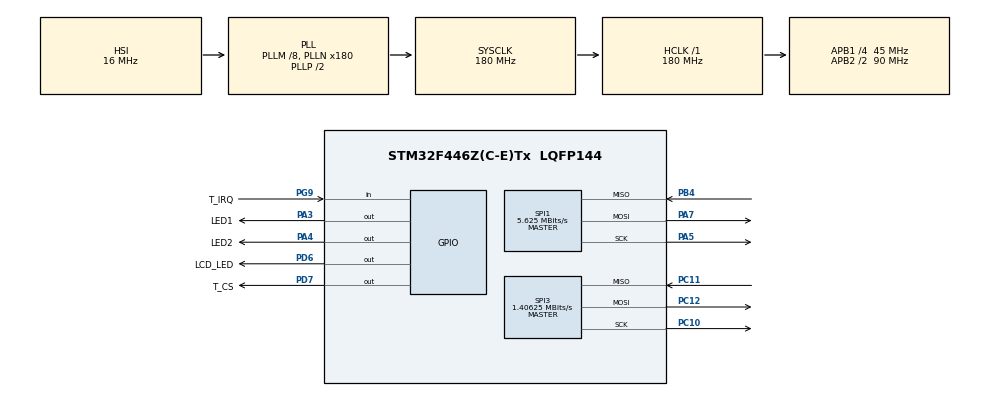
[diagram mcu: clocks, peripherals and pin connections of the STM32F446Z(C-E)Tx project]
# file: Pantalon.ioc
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Mcu.Family=STM32F4
Mcu.Name=STM32F446Z(C-E)Tx
Mcu.Package=LQFP144
NVIC.PriorityGroup=NVIC_PRIORITYGROUP_4
PA3.GPIO_Label=LED1
PA3.PinState=GPIO_PIN_RESET
PA3.Signal=GPIO_Output
PA4.GPIO_Label=LED2
PA4.Signal=GPIO_Output
PA5.Mode=Full_Duplex_Master
PA5.Signal=SPI1_SCK
PA7.Mode=Full_Duplex_Master
PA7.Signal=SPI1_MOSI
PB4.Mode=Full_Duplex_Master
PB4.Signal=SPI1_MISO
PC10.Mode=Full_Duplex_Master
PC10.Signal=SPI3_SCK
PC11.Mode=Full_Duplex_Master
PC11.Signal=SPI3_MISO
PC12.Mode=Full_Duplex_Master
PC12.Signal=SPI3_MOSI
PD6.GPIO_Label=LCD_LED
PD6.PinState=GPIO_PIN_SET
PD6.Signal=GPIO_Output
PD7.GPIO_Label=T_CS
PD7.PinState=GPIO_PIN_SET
PD7.Signal=GPIO_Output
PG9.GPIO_Label=T_IRQ
PG9.Signal=GPIO_Input
ProjectManager.HeapSize=0x200
ProjectManager.StackSize=0x400
ProjectManager.TargetToolchain=CMake
RCC.AHBFreq_Value=180000000
RCC.APB1CLKDivider=RCC_HCLK_DIV4
RCC.APB1Freq_Value=45000000
RCC.APB1TimFreq_Value=90000000
RCC.APB2CLKDivider=RCC_HCLK_DIV2
RCC.APB2Freq_Value=90000000
RCC.APB2TimFreq_Value=180000000
RCC.CortexFreq_Value=180000000
RCC.HCLKFreq_Value=180000000
RCC.PLLM=8
RCC.PLLN=180
RCC.SYSCLKFreq_VALUE=180000000
RCC.SYSCLKSource=RCC_SYSCLKSOURCE_PLLCLK
RCC.USBFreq_Value=180000000
RCC.VCOOutputFreq_Value=360000000
SPI1.BaudRatePrescaler=SPI_BAUDRATEPRESCALER_16
SPI1.CalculateBaudRate=5.625 MBits/s
SPI1.Direction=SPI_DIRECTION_2LINES
SPI1.Mode=SPI_MODE_MASTER
SPI1.VirtualType=VM_MASTER
SPI3.BaudRatePrescaler=SPI_BAUDRATEPRESCALER_32
SPI3.CalculateBaudRate=1.40625 MBits/s
SPI3.Direction=SPI_DIRECTION_2LINES
SPI3.Mode=SPI_MODE_MASTER
SPI3.VirtualType=VM_MASTER
board=custom

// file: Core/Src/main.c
/* USER CODE BEGIN Header */
/**
  ******************************************************************************
  * @file           : main.c
  * @brief          : Main program body
  ******************************************************************************
  * @attention
  *
  * Copyright (c) 2026 STMicroelectronics.
  * All rights reserved.
  *
  * This software is licensed under terms that can be found in the LICENSE file
  * in the root directory of this software component.
  * If no LICENSE file comes with this software, it is provided AS-IS.
  *
  ******************************************************************************
  */
/* USER CODE END Header */
#include "main.h"

/* USER CODE BEGIN Includes */
#include "ILI9341_Driver.h"
#include "Touch.h"
#include "display.h"
#include "stm32f4xx_hal.h"
#include <stdio.h>
/* USER CODE END Includes */

/* USER CODE BEGIN PD */
void delay_ms(volatile uint32_t ms){
	while(ms--){
		for(volatile uint32_t i =0; i<6000;i++){
		}}
}
/* USER CODE END PD */

SPI_HandleTypeDef hspi1;
SPI_HandleTypeDef hspi3;

/* USER CODE BEGIN PV */
uint8_t state = 0;
uint16_t Xp;
uint16_t Yp;
char touch_text[24];
volatile uint32_t startup_stage;
 uint16_t paint_color = WHITE;
 uint16_t brush_size = 15;

/* USER CODE END PV */

void SystemClock_Config(void);
static void MX_GPIO_Init(void);
static void MX_SPI1_Init(void);
static void MX_SPI3_Init(void);

int main(void)
{

  /* USER CODE BEGIN 1 */
 uint16_t rec_espacio = 5;
 uint16_t recArea = 30;

  /* USER CODE END 1 */

  /* MCU Configuration--------------------------------------------------------*/

  /* Reset of all peripherals, Initializes the Flash interface and the Systick. */
  startup_stage = 1;
  HAL_Init();

  /* Configure the system clock */
  startup_stage = 2;
  SystemClock_Config();

  /* Initialize all configured peripherals */
  startup_stage = 3;
  MX_GPIO_Init();
  startup_stage = 4;
  MX_SPI1_Init();
  startup_stage = 5;
  MX_SPI3_Init();
  /* USER CODE BEGIN 2 */
  startup_stage = 6;
  LCD_ILI9341_Init();
  TP_Init();
  startup_stage = 7;
  LCD_ILI9341_Rotate(0);
  HAL_Delay(500);
  startup_stage = 8;
  LCD_ILI9341_Fill(WHITE);
  startup_stage = 9;

  uint16_t BLACK_MARGIN_X_L    = 0;                        uint16_t  BLACK_MARGIN_X_H   = recArea;
  uint16_t RED_MARGIN_X_L      = (recArea+rec_espacio)   ; uint16_t RED_MARGIN_X_H      = (recArea)*2+rec_espacio;
  uint16_t BLUE_MARGIN_X_L     = (recArea+rec_espacio)*2 ; uint16_t BLUE_MARGIN_X_H     = (recArea)*3+rec_espacio*2;
  uint16_t GREEN_MARGIN_X_L    = (recArea+rec_espacio)*3 ; uint16_t GREEN_MARGIN_X_H    = (recArea)*4+rec_espacio*3;
  uint16_t PURPLE_MARGIN_X_L   = (recArea+rec_espacio)*4 ; uint16_t PURPLE_MARGIN_X_H   = (recArea)*5+rec_espacio*4;
  uint16_t MAROON_MARGIN_X_L   = (recArea+rec_espacio)*5 ; uint16_t MAROON_MARGIN_X_H   = (recArea)*6+rec_espacio*5;
  uint16_t ERASE_MARGIN_X_L    = (recArea+rec_espacio)*6 ; uint16_t ERASE_MARGIN_X_H    = (recArea)*7+rec_espacio*6;

  uint16_t ERASE2_MARGIN_X_L   = (recArea+rec_espacio)*7 ; uint16_t ERASE2_MARGIN_X_H   = (recArea)*8+rec_espacio*7;

  //                              0  0   30           30
  LCD_ILI9341_DrawFilledRectangle(BLACK_MARGIN_X_L, 0, BLACK_MARGIN_X_H,(recArea), BLACK);

  //                                 35                 0     65                    30
  LCD_ILI9341_DrawFilledRectangle(RED_MARGIN_X_L  , 0, RED_MARGIN_X_H ,(recArea), RED);
  //                                    70                 0     100                    30
  LCD_ILI9341_DrawFilledRectangle(BLUE_MARGIN_X_L, 0, BLUE_MARGIN_X_H,(recArea), BLUE);

  LCD_ILI9341_DrawFilledRectangle(GREEN_MARGIN_X_L, 0, GREEN_MARGIN_X_H,(recArea), GREEN);

  LCD_ILI9341_DrawFilledRectangle(PURPLE_MARGIN_X_L, 0, PURPLE_MARGIN_X_H,(recArea), PURPLE);

  LCD_ILI9341_DrawFilledRectangle(MAROON_MARGIN_X_L, 0, MAROON_MARGIN_X_H,(recArea), MAROON);
  LCD_ILI9341_DrawFilledRectangle(ERASE_MARGIN_X_L, 0, ERASE_MARGIN_X_H,(recArea)/2, RED);
  LCD_ILI9341_DrawFilledRectangle(ERASE_MARGIN_X_L, recArea/2, ERASE_MARGIN_X_H,(recArea),BLUE);

  LCD_ILI9341_DrawFilledRectangle(ERASE2_MARGIN_X_L, 0, ERASE2_MARGIN_X_H,(recArea)/2, BLUE);
  LCD_ILI9341_DrawFilledRectangle(ERASE2_MARGIN_X_L, recArea/2, ERASE2_MARGIN_X_H,(recArea),RED);

    // LCD_ILI9341_Puts(28, 64, "IE UAA", 2, BLACK, WHITE);

    // LCD_ILI9341_DrawCircle(Xp, Yp, 5, RED, 0);
    // LCD_ILI9341_Puts(180, 160, "PAINT", 2, GREEN, WHITE);

  // LCD_ILI9341_DrawFilledRectangle(0, 0, 120, 18, WHITE);

  /* USER CODE END 2 */

  /* Infinite loop */
  while (1)
  {

    /* USER CODE BEGIN 3 */

     if(TP_GetState())
     {
    HAL_GPIO_TogglePin(LED1_GPIO_Port, LED1_Pin);
    HAL_GPIO_WritePin(LED1_GPIO_Port, LED1_Pin, GPIO_PIN_SET); //encender LED
    Yp=240-TP_Read_X(); //solo TP_Read_X() para invertir X
    Xp=TP_Read_Y(); //solo TP_Read_Y() para invertir Y

    if (Yp < recArea) {
      if (Xp >= BLACK_MARGIN_X_L && Xp <= BLACK_MARGIN_X_H) {
        paint_color = BLACK;
      } else if (Xp >= RED_MARGIN_X_L && Xp <= RED_MARGIN_X_H) {
        paint_color = RED;
      } else if (Xp >= BLUE_MARGIN_X_L && Xp <= BLUE_MARGIN_X_H) {
        paint_color = BLUE;
      } else if (Xp >= GREEN_MARGIN_X_L && Xp <= GREEN_MARGIN_X_H) {
        paint_color = GREEN;
      } else if (Xp >= PURPLE_MARGIN_X_L && Xp <= PURPLE_MARGIN_X_H) {
        paint_color = PURPLE;
      } else if (Xp >= MAROON_MARGIN_X_L && Xp <= MAROON_MARGIN_X_H) {
        paint_color = MAROON;
      }
        else if (Xp >= ERASE_MARGIN_X_L && Xp <= ERASE_MARGIN_X_H) {
          paint_color = WHITE;
        }
        else if (Xp >= ERASE2_MARGIN_X_L && Xp <= ERASE2_MARGIN_X_H) {
          LCD_ILI9341_DrawFilledRectangle(0,recArea,320,320,WHITE);

        }
    }
    else{
          LCD_ILI9341_DrawCircle(Xp, Yp, brush_size, paint_color, brush_size);

    }
    }
     //Para hacer lineas finas se debe obtener el promedio de puntos
     //Para dibujar coordenadas
     /*
    LCD_ILI9341_DrawFilledRectangle(230,10,310,70,ILI9341_COLOR_WHITE); //borrar anteriores
     snprintf(buffer, 15, "%d", Xp);
    // LCD_ILI9341_Puts(230, 10, buffer, &LCD_Font_16x26, ILI9341_COLOR_RED,
    // ILI9341_COLOR_BLUE);
    // snprintf(buffer, 15, "%d", Yp);
    // LCD_ILI9341_Puts(230, 40, buffer, &LCD_Font_16x26, ILI9341_COLOR_GREEN,
    // ILI9341_COLOR_BLUE);
    // HAL_Delay(100);
    // */

  }
    // HAL_GPIO_WritePin(LED1_GPIO_Port, LED1_Pin, GPIO_PIN_RESET); //apagar LED

  /* USER CODE END 3 */
}

void SystemClock_Config(void)
{
  RCC_OscInitTypeDef RCC_OscInitStruct = {0};
  RCC_ClkInitTypeDef RCC_ClkInitStruct = {0};

  /** Configure the main internal regulator output voltage
  */
  __HAL_RCC_PWR_CLK_ENABLE();
  __HAL_PWR_VOLTAGESCALING_CONFIG(PWR_REGULATOR_VOLTAGE_SCALE1);

  /** Initializes the RCC Oscillators according to the specified parameters
  * in the RCC_OscInitTypeDef structure.
  */
  RCC_OscInitStruct.OscillatorType = RCC_OSCILLATORTYPE_HSI;
  RCC_OscInitStruct.HSIState = RCC_HSI_ON;
  RCC_OscInitStruct.HSICalibrationValue = RCC_HSICALIBRATION_DEFAULT;
  RCC_OscInitStruct.PLL.PLLState = RCC_PLL_ON;
  RCC_OscInitStruct.PLL.PLLSource = RCC_PLLSOURCE_HSI;
  RCC_OscInitStruct.PLL.PLLM = 8;
  RCC_OscInitStruct.PLL.PLLN = 180;
  RCC_OscInitStruct.PLL.PLLP = RCC_PLLP_DIV2;
  RCC_OscInitStruct.PLL.PLLQ = 2;
  RCC_OscInitStruct.PLL.PLLR = 2;
  if (HAL_RCC_OscConfig(&RCC_OscInitStruct) != HAL_OK)
  {
    Error_Handler();
  }

  /** Activate the Over-Drive mode
  */
  if (HAL_PWREx_EnableOverDrive() != HAL_OK)
  {
    Error_Handler();
  }

  /** Initializes the CPU, AHB and APB buses clocks
  */
  RCC_ClkInitStruct.ClockType = RCC_CLOCKTYPE_HCLK|RCC_CLOCKTYPE_SYSCLK
                              |RCC_CLOCKTYPE_PCLK1|RCC_CLOCKTYPE_PCLK2;
  RCC_ClkInitStruct.SYSCLKSource = RCC_SYSCLKSOURCE_PLLCLK;
  RCC_ClkInitStruct.AHBCLKDivider = RCC_SYSCLK_DIV1;
  RCC_ClkInitStruct.APB1CLKDivider = RCC_HCLK_DIV4;
  RCC_ClkInitStruct.APB2CLKDivider = RCC_HCLK_DIV2;

  if (HAL_RCC_ClockConfig(&RCC_ClkInitStruct, FLASH_LATENCY_5) != HAL_OK)
  {
    Error_Handler();
  }
}

static void MX_SPI1_Init(void)
{

  /* SPI1 parameter configuration*/
  hspi1.Instance = SPI1;
  hspi1.Init.Mode = SPI_MODE_MASTER;
  hspi1.Init.Direction = SPI_DIRECTION_2LINES;
  hspi1.Init.DataSize = SPI_DATASIZE_8BIT;
  hspi1.Init.CLKPolarity = SPI_POLARITY_LOW;
  hspi1.Init.CLKPhase = SPI_PHASE_1EDGE;
  hspi1.Init.NSS = SPI_NSS_SOFT;
  hspi1.Init.BaudRatePrescaler = SPI_BAUDRATEPRESCALER_16;
  hspi1.Init.FirstBit = SPI_FIRSTBIT_MSB;
  hspi1.Init.TIMode = SPI_TIMODE_DISABLE;
  hspi1.Init.CRCCalculation = SPI_CRCCALCULATION_DISABLE;
  hspi1.Init.CRCPolynomial = 10;
  if (HAL_SPI_Init(&hspi1) != HAL_OK)
  {
    Error_Handler();
  }

}

static void MX_SPI3_Init(void)
{

  /* SPI3 parameter configuration*/
  hspi3.Instance = SPI3;
  hspi3.Init.Mode = SPI_MODE_MASTER;
  hspi3.Init.Direction = SPI_DIRECTION_2LINES;
  hspi3.Init.DataSize = SPI_DATASIZE_8BIT;
  hspi3.Init.CLKPolarity = SPI_POLARITY_LOW;
  hspi3.Init.CLKPhase = SPI_PHASE_1EDGE;
  hspi3.Init.NSS = SPI_NSS_SOFT;
  hspi3.Init.BaudRatePrescaler = SPI_BAUDRATEPRESCALER_32;
  hspi3.Init.FirstBit = SPI_FIRSTBIT_MSB;
  hspi3.Init.TIMode = SPI_TIMODE_DISABLE;
  hspi3.Init.CRCCalculation = SPI_CRCCALCULATION_DISABLE;
  hspi3.Init.CRCPolynomial = 10;
  if (HAL_SPI_Init(&hspi3) != HAL_OK)
  {
    Error_Handler();
  }

}

static void MX_GPIO_Init(void)
{
  GPIO_InitTypeDef GPIO_InitStruct = {0};
  /* USER CODE BEGIN MX_GPIO_Init_1 */

   __HAL_RCC_GPIOB_CLK_ENABLE();
  __HAL_RCC_GPIOE_CLK_ENABLE();
  __HAL_RCC_GPIOG_CLK_ENABLE();

  /* USER CODE END MX_GPIO_Init_1 */

  /* GPIO Ports Clock Enable */
  __HAL_RCC_GPIOA_CLK_ENABLE();
  __HAL_RCC_GPIOC_CLK_ENABLE();
  __HAL_RCC_GPIOD_CLK_ENABLE();

  /*Configure GPIO pin Output Level */
  HAL_GPIO_WritePin(GPIOA, LED1_Pin|LED2_Pin, GPIO_PIN_RESET);

  /*Configure GPIO pin Output Level */
  HAL_GPIO_WritePin(GPIOD, LCD_LED_Pin|T_CS_Pin, GPIO_PIN_SET);

  /*Configure GPIO pins : LED1_Pin LED2_Pin */
  GPIO_InitStruct.Pin = LED1_Pin|LED2_Pin;
  GPIO_InitStruct.Mode = GPIO_MODE_OUTPUT_PP;
  GPIO_InitStruct.Pull = GPIO_NOPULL;
  GPIO_InitStruct.Speed = GPIO_SPEED_FREQ_LOW;
  HAL_GPIO_Init(GPIOA, &GPIO_InitStruct);

  /*Configure GPIO pins : LCD_LED_Pin T_CS_Pin */
  GPIO_InitStruct.Pin = LCD_LED_Pin|T_CS_Pin;
  GPIO_InitStruct.Mode = GPIO_MODE_OUTPUT_PP;
  GPIO_InitStruct.Pull = GPIO_NOPULL;
  GPIO_InitStruct.Speed = GPIO_SPEED_FREQ_LOW;
  HAL_GPIO_Init(GPIOD, &GPIO_InitStruct);

  GPIO_InitStruct.Pin = T_IRQ_Pin;
  GPIO_InitStruct.Mode = GPIO_MODE_INPUT;
  GPIO_InitStruct.Pull = GPIO_NOPULL;
  GPIO_InitStruct.Speed = GPIO_SPEED_FREQ_LOW;
  HAL_GPIO_Init(T_IRQ_GPIO_Port, &GPIO_InitStruct);

  /* USER CODE BEGIN MX_GPIO_Init_2 */

  /* Configure GPIO pin Output Level */
  HAL_GPIO_WritePin(GPIOD, DC_Pin | CS_Pin | RESET_Pin, GPIO_PIN_SET);

  /* Configure LCD control pins: PD2 (CS), PD4 (RESET), PD5 (DC), PD6 (LED) */
  GPIO_InitStruct.Pin = DC_Pin | CS_Pin | RESET_Pin;
  GPIO_InitStruct.Mode = GPIO_MODE_OUTPUT_PP;
  GPIO_InitStruct.Pull = GPIO_NOPULL;
  GPIO_InitStruct.Speed = GPIO_SPEED_FREQ_LOW;
  HAL_GPIO_Init(GPIOD, &GPIO_InitStruct);

  /* USER CODE END MX_GPIO_Init_2 */
}

void Error_Handler(void)
{
  __disable_irq();
  while (1)
  {
  }
}
